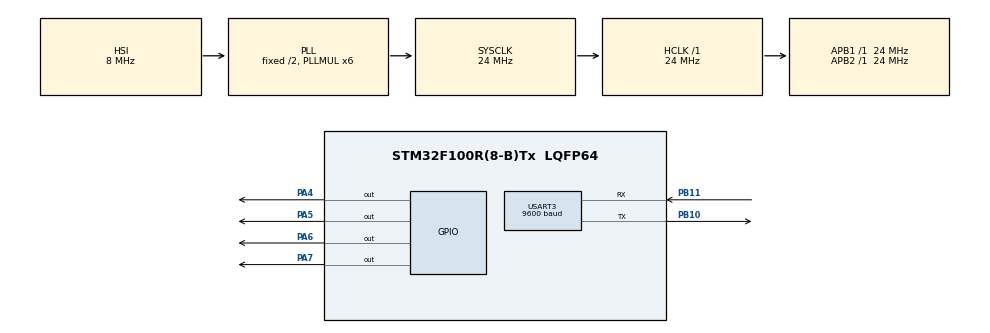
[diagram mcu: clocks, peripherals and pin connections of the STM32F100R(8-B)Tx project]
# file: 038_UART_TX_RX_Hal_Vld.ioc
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Mcu.Family=STM32F1
Mcu.Name=STM32F100R(8-B)Tx
Mcu.Package=LQFP64
NVIC.PriorityGroup=NVIC_PRIORITYGROUP_4
PA13.Mode=Serial_Wire
PA13.Signal=SYS_JTMS-SWDIO
PA14.Mode=Serial_Wire
PA14.Signal=SYS_JTCK-SWCLK
PA4.Signal=GPIO_Output
PA5.Signal=GPIO_Output
PA6.Signal=GPIO_Output
PA7.Signal=GPIO_Output
PB10.Mode=Asynchronous
PB10.Signal=USART3_TX
PB11.Mode=Asynchronous
PB11.Signal=USART3_RX
PD0-OSC_IN.Mode=HSE-External-Oscillator
PD0-OSC_IN.Signal=RCC_OSC_IN
PD1-OSC_OUT.Mode=HSE-External-Oscillator
PD1-OSC_OUT.Signal=RCC_OSC_OUT
ProjectManager.HeapSize=0x200
ProjectManager.StackSize=0x400
ProjectManager.TargetToolchain=STM32CubeIDE
RCC.AHBFreq_Value=24000000
RCC.APB1Freq_Value=24000000
RCC.APB1TimFreq_Value=24000000
RCC.APB2Freq_Value=24000000
RCC.APB2TimFreq_Value=24000000
RCC.HCLKFreq_Value=24000000
RCC.PLLMUL=RCC_PLL_MUL6
RCC.SYSCLKFreq_VALUE=24000000
RCC.SYSCLKSource=RCC_SYSCLKSOURCE_PLLCLK
USART3.BaudRate=9600
USART3.VirtualMode=VM_ASYNC
board=custom

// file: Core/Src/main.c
/* USER CODE BEGIN Header */
/**
  ******************************************************************************
  * @file           : main.c
  * @brief          : Main program body
  ******************************************************************************
  * @attention
  *
  * Copyright (c) 2024 STMicroelectronics.
  * All rights reserved.
  *
  * This software is licensed under terms that can be found in the LICENSE file
  * in the root directory of this software component.
  * If no LICENSE file comes with this software, it is provided AS-IS.
  *
  ******************************************************************************
  */
/* USER CODE END Header */
#include "main.h"

/* USER CODE BEGIN Includes */
#include "string.h"

/* USER CODE END Includes */

UART_HandleTypeDef huart3;

/* USER CODE BEGIN PV */
char rx_buff[50];
char tx_buff[50];

/* USER CODE END PV */

void SystemClock_Config(void);
static void MX_GPIO_Init(void);
static void MX_USART3_UART_Init(void);

int main(void)
{

  /* MCU Configuration--------------------------------------------------------*/

  /* Reset of all peripherals, Initializes the Flash interface and the Systick. */
  HAL_Init();

  /* USER CODE BEGIN Init */
  int led = 0;

  /* USER CODE END Init */

  /* Configure the system clock */
  SystemClock_Config();

  /* Initialize all configured peripherals */
  MX_GPIO_Init();
  MX_USART3_UART_Init();

  /* Infinite loop */
  while (1)
  {

    /* USER CODE BEGIN 3 */
  HAL_UART_Receive(&huart3, (uint8_t*) rx_buff, 50, 500);

  if(rx_buff[0] == 'l' && rx_buff[1] == 'e' && rx_buff[2] == 'd' && rx_buff[3] == '1' && rx_buff[4] == ' '  && rx_buff[5] == 'o' && rx_buff[6] == 'n'){
  	  	  HAL_GPIO_WritePin(GPIOA, GPIO_PIN_4, GPIO_PIN_SET);
  	  	  led = 1;

  }
  else if(rx_buff[0] == 'l' && rx_buff[1] == 'e' && rx_buff[2] == 'd' && rx_buff[3] == '1' && rx_buff[4] == ' '  && rx_buff[5] == 'o' && rx_buff[6] == 'f' && rx_buff[6] == 'f'){
  	  	  HAL_GPIO_WritePin(GPIOA, GPIO_PIN_4, GPIO_PIN_RESET);
  	  	  led = 11;
  }

  if(rx_buff[0] == 'l' && rx_buff[1] == 'e' && rx_buff[2] == 'd' && rx_buff[3] == '2' && rx_buff[4] == ' '  && rx_buff[5] == 'o' && rx_buff[6] == 'n'){
	  HAL_GPIO_WritePin(GPIOA, GPIO_PIN_5, GPIO_PIN_SET);
	  led=2;
    }
  else if(rx_buff[0] == 'l' && rx_buff[1] == 'e' && rx_buff[2] == 'd' && rx_buff[3] == '2' && rx_buff[4] == ' '  && rx_buff[5] == 'o' && rx_buff[6] == 'f' && rx_buff[6] == 'f'){
	  HAL_GPIO_WritePin(GPIOA, GPIO_PIN_5, GPIO_PIN_RESET);
	  led=22;
  }

  if(rx_buff[0] == 'l' && rx_buff[1] == 'e' && rx_buff[2] == 'd' && rx_buff[3] == '3' && rx_buff[4] == ' '  && rx_buff[5] == 'o' && rx_buff[6] == 'n'){
    	  	  HAL_GPIO_WritePin(GPIOA, GPIO_PIN_6, GPIO_PIN_SET);
    	  	  led=3;
  }
  else if(rx_buff[0] == 'l' && rx_buff[1] == 'e' && rx_buff[2] == 'd' && rx_buff[3] == '3' && rx_buff[4] == ' '  && rx_buff[5] == 'o' && rx_buff[6] == 'f' && rx_buff[6] == 'f'){
    	  	  HAL_GPIO_WritePin(GPIOA, GPIO_PIN_6, GPIO_PIN_RESET);
    	  	  led =33;
  }
  if(rx_buff[0] == 'l' && rx_buff[1] == 'e' && rx_buff[2] == 'd' && rx_buff[3] == '4' && rx_buff[4] == ' '  && rx_buff[5] == 'o' && rx_buff[6] == 'n'){
    	  	  HAL_GPIO_WritePin(GPIOA, GPIO_PIN_7, GPIO_PIN_SET);
    	  	  led=4;
  }
  else if(rx_buff[0] == 'l' && rx_buff[1] == 'e' && rx_buff[2] == 'd' && rx_buff[3] == '4' && rx_buff[4] == ' '  && rx_buff[5] == 'o' && rx_buff[6] == 'f' && rx_buff[6] == 'f'){
    	  	  HAL_GPIO_WritePin(GPIOA, GPIO_PIN_7, GPIO_PIN_RESET);
    	  	  led=44;
  }
  }
  char led_str[5];
  if(sprintf(led_str,"%d",led) == 2){
	  led =  led%10;
	  HAL_UART_Transmit(&huart3, (uint8_t*) tx_buff, sprintf(tx_buff,"LED%d OFF\n",led), 100);
	  led = 0;
  }
  else if(led < 5 && led > 0){

	  HAL_UART_Transmit(&huart3, (uint8_t*) tx_buff, sprintf(tx_buff,"LED%d ON\n",led), 100);
	  led = 0;
  }

  /* USER CODE END 3 */
}

void SystemClock_Config(void)
{
  RCC_OscInitTypeDef RCC_OscInitStruct = {0};
  RCC_ClkInitTypeDef RCC_ClkInitStruct = {0};

  /** Initializes the RCC Oscillators according to the specified parameters
  * in the RCC_OscInitTypeDef structure.
  */
  RCC_OscInitStruct.OscillatorType = RCC_OSCILLATORTYPE_HSI;
  RCC_OscInitStruct.HSIState = RCC_HSI_ON;
  RCC_OscInitStruct.HSICalibrationValue = RCC_HSICALIBRATION_DEFAULT;
  RCC_OscInitStruct.PLL.PLLState = RCC_PLL_ON;
  RCC_OscInitStruct.PLL.PLLSource = RCC_PLLSOURCE_HSI_DIV2;
  RCC_OscInitStruct.PLL.PLLMUL = RCC_PLL_MUL6;
  if (HAL_RCC_OscConfig(&RCC_OscInitStruct) != HAL_OK)
  {
    Error_Handler();
  }

  /** Initializes the CPU, AHB and APB buses clocks
  */
  RCC_ClkInitStruct.ClockType = RCC_CLOCKTYPE_HCLK|RCC_CLOCKTYPE_SYSCLK
                              |RCC_CLOCKTYPE_PCLK1|RCC_CLOCKTYPE_PCLK2;
  RCC_ClkInitStruct.SYSCLKSource = RCC_SYSCLKSOURCE_PLLCLK;
  RCC_ClkInitStruct.AHBCLKDivider = RCC_SYSCLK_DIV1;
  RCC_ClkInitStruct.APB1CLKDivider = RCC_HCLK_DIV1;
  RCC_ClkInitStruct.APB2CLKDivider = RCC_HCLK_DIV1;

  if (HAL_RCC_ClockConfig(&RCC_ClkInitStruct, FLASH_LATENCY_0) != HAL_OK)
  {
    Error_Handler();
  }
}

static void MX_USART3_UART_Init(void)
{

  huart3.Instance = USART3;
  huart3.Init.BaudRate = 9600;
  huart3.Init.WordLength = UART_WORDLENGTH_8B;
  huart3.Init.StopBits = UART_STOPBITS_1;
  huart3.Init.Parity = UART_PARITY_NONE;
  huart3.Init.Mode = UART_MODE_TX_RX;
  huart3.Init.HwFlowCtl = UART_HWCONTROL_NONE;
  huart3.Init.OverSampling = UART_OVERSAMPLING_16;
  if (HAL_UART_Init(&huart3) != HAL_OK)
  {
    Error_Handler();
  }

}

static void MX_GPIO_Init(void)
{
  GPIO_InitTypeDef GPIO_InitStruct = {0};

  /* GPIO Ports Clock Enable */
  __HAL_RCC_GPIOD_CLK_ENABLE();
  __HAL_RCC_GPIOA_CLK_ENABLE();
  __HAL_RCC_GPIOB_CLK_ENABLE();

  /*Configure GPIO pin Output Level */
  HAL_GPIO_WritePin(GPIOA, GPIO_PIN_4|GPIO_PIN_5|GPIO_PIN_6|GPIO_PIN_7, GPIO_PIN_RESET);

  /*Configure GPIO pins : PA4 PA5 PA6 PA7 */
  GPIO_InitStruct.Pin = GPIO_PIN_4|GPIO_PIN_5|GPIO_PIN_6|GPIO_PIN_7;
  GPIO_InitStruct.Mode = GPIO_MODE_OUTPUT_PP;
  GPIO_InitStruct.Pull = GPIO_NOPULL;
  GPIO_InitStruct.Speed = GPIO_SPEED_FREQ_LOW;
  HAL_GPIO_Init(GPIOA, &GPIO_InitStruct);

}

void Error_Handler(void)
{
  __disable_irq();
  while (1)
  {
  }
}
